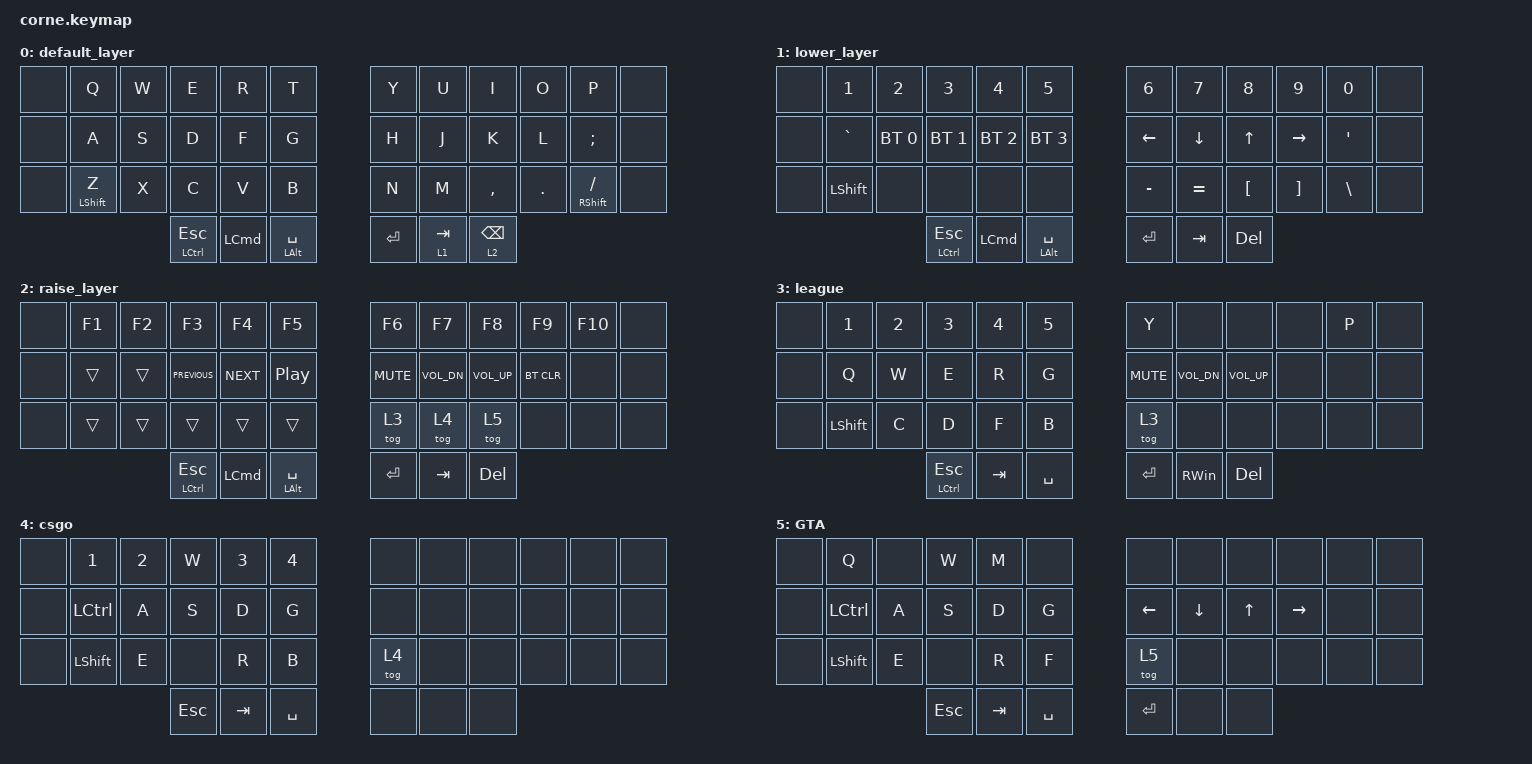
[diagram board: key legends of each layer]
/*
 * Copyright (c) 2020 The ZMK Contributors
 *
 * SPDX-License-Identifier: MIT
 */

#include <behaviors.dtsi>
#include <dt-bindings/zmk/bt.h>
#include <dt-bindings/zmk/keys.h>

/ {
    behaviors {
        hold_tap_200: hold_tap_200 {
            compatible = "zmk,behavior-hold-tap";
            label = "HOLD_TAP_200";
            bindings = <&kp>, <&kp>;

            #binding-cells = <2>;
            flavor = "tap-preferred";
            tapping-term-ms = <200>;
        };

        hold_tap_150: hold_tap_150 {
            compatible = "zmk,behavior-hold-tap";
            label = "HOLD_TAP_150";
            bindings = <&kp>, <&kp>;

            #binding-cells = <2>;
            tapping-term-ms = <150>;
            flavor = "tap-preferred";
        };
    };

    keymap {
        compatible = "zmk,keymap";

        default_layer {
            // -----------------------------------------------------------------------------------------
            // |  TAB |  Q  |  W  |  E  |  R  |  T  |   |  Y  |  U   |  I  |  O  |  P  | BKSP |
            // | CTRL |  A  |  S  |  D  |  F  |  G  |   |  H  |  J   |  K  |  L  |  ;  |  '   |
            // | SHFT |  Z  |  X  |  C  |  V  |  B  |   |  N  |  M   |  ,  |  .  |  /  | ESC  |
            //                    | GUI | LWR | SPC |   | ENT | RSE  | ALT |

            bindings = <
&none  &kp Q                       &kp W  &kp E                           &kp R             &kp T                           &kp Y    &kp U      &kp I            &kp O    &kp P                            &none
&none  &kp A                       &kp S  &kp D                           &kp F             &kp G                           &kp H    &kp J      &kp K            &kp L    &kp SEMI                         &none
&none  &hold_tap_150 LEFT_SHIFT Z  &kp X  &kp C                           &kp V             &kp B                           &kp N    &kp M      &kp COMMA        &kp DOT  &hold_tap_200 RIGHT_SHIFT SLASH  &none
                                          &hold_tap_200 LEFT_CONTROL ESC  &kp LEFT_COMMAND  &hold_tap_200 LEFT_ALT SPACE    &kp RET  &lt 1 TAB  &lt 2 BACKSPACE
            >;
        };

        lower_layer {
            // -----------------------------------------------------------------------------------------
            // |  TAB |  1  |  2  |  3  |  4  |  5  |   |  6  |  7  |  8  |  9  |  0  | BKSP |
            // | BTCLR| BT1 | BT2 | BT3 | BT4 | BT5 |   | LFT | DWN |  UP | RGT |     |      |
            // | SHFT |     |     |     |     |     |   |     |     |     |     |     |      |
            //                    | GUI |     | SPC |   | ENT |     | ALT |

            bindings = <
&none  &kp N1          &kp N2        &kp N3                             &kp N4            &kp N5                          &kp N6     &kp N7     &kp N8            &kp N9             &kp N0            &none
&none  &kp GRAVE       &bt BT_SEL 0  &bt BT_SEL 1                       &bt BT_SEL 2      &bt BT_SEL 3                    &kp LEFT   &kp DOWN   &kp UP            &kp RIGHT          &kp SINGLE_QUOTE  &none
&none  &kp LEFT_SHIFT  &none         &none                              &none             &none                           &kp MINUS  &kp EQUAL  &kp LEFT_BRACKET  &kp RIGHT_BRACKET  &kp BACKSLASH     &none
                                     &hold_tap_200 LEFT_CONTROL ESCAPE  &kp LEFT_COMMAND  &hold_tap_200 LEFT_ALT SPACE    &kp RET    &kp TAB    &kp DELETE
            >;
        };

        raise_layer {
            // -----------------------------------------------------------------------------------------
            // |  TAB |  !  |  @  |  #  |  $  |  %  |   |  ^  |  &  |  *  |  (  |  )  | BKSP |
            // | CTRL |     |     |     |     |     |   |  -  |  =  |  [  |  ]  |  \  |  `   |
            // | SHFT |     |     |     |     |     |   |  _  |  +  |  {  |  }  | "|" |  ~   |
            //                    | GUI |     | SPC |   | ENT |     | ALT |

            bindings = <
&none  &kp F1  &kp F2  &kp F3                             &kp F4            &kp F5                          &kp F6      &kp F7        &kp F8           &kp F9      &kp F10  &none
&none  &trans  &trans  &kp C_PREVIOUS                     &kp C_NEXT        &kp C_PLAY_PAUSE                &kp K_MUTE  &kp C_VOL_DN  &kp C_VOLUME_UP  &bt BT_CLR  &none    &none
&none  &trans  &trans  &trans                             &trans            &trans                          &tog 3      &tog 4        &tog 5           &none       &none    &none
                       &hold_tap_200 LEFT_CONTROL ESCAPE  &kp LEFT_COMMAND  &hold_tap_200 LEFT_ALT SPACE    &kp RET     &kp TAB       &kp DELETE
            >;
        };

        league {
            bindings = <
&none  &kp NUMBER_1    &kp NUMBER_2  &kp N3                             &kp N4   &kp N5       &kp Y       &none          &none            &none  &kp P  &none
&none  &kp Q           &kp W         &kp E                              &kp R    &kp G        &kp K_MUTE  &kp C_VOL_DN   &kp C_VOLUME_UP  &none  &none  &none
&none  &kp LEFT_SHIFT  &kp C         &kp D                              &kp F    &kp B        &tog 3      &none          &none            &none  &none  &none
                                     &hold_tap_200 LEFT_CONTROL ESCAPE  &kp TAB  &kp SPACE    &kp ENTER   &kp RIGHT_WIN  &kp DELETE
            >;
        };

        csgo {
            bindings = <
&none  &kp NUMBER_1      &kp NUMBER_2  &kp W       &kp NUMBER_3  &kp NUMBER_4    &none   &none  &none  &none  &none  &none
&none  &kp LEFT_CONTROL  &kp A         &kp S       &kp D         &kp G           &none   &none  &none  &none  &none  &none
&none  &kp LEFT_SHIFT    &kp E         &none       &kp R         &kp B           &tog 4  &none  &none  &none  &none  &none
                                       &kp ESCAPE  &kp TAB       &kp SPACE       &none   &none  &none
            >;
        };

        GTA {
            bindings = <
&none  &kp Q             &none  &kp W       &kp M    &none        &none      &none           &none         &none      &none  &none
&none  &kp LEFT_CONTROL  &kp A  &kp S       &kp D    &kp G        &kp LEFT   &kp DOWN_ARROW  &kp UP_ARROW  &kp RIGHT  &none  &none
&none  &kp LEFT_SHIFT    &kp E  &none       &kp R    &kp F        &tog 5     &none           &none         &none      &none  &none
                                &kp ESCAPE  &kp TAB  &kp SPACE    &kp ENTER  &none           &none
            >;
        };
    };
};
